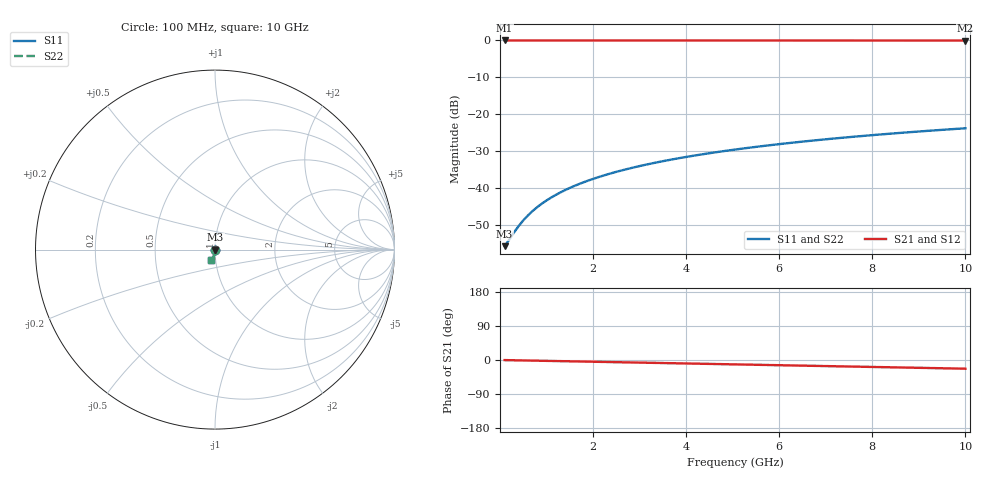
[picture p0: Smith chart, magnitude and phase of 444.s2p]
# Hz S RI R 50.00
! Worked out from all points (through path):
!   100 points, 100 MHz to 10 GHz, reference 50 ohm
!   highest |S21| = -0.01 dB at 100 MHz (marker M1); lowest = 0.0 dB at 10 GHz (marker M2)
!   group delay of S21, straight-line fit = 6.37 ps
!   lowest |S11| = -55.9 dB at 100 MHz (marker M3), VSWR 1.00, Z = 50.1 - j0.0662 ohm
!   |S11| at or under -10 dB: start of sweep to end of sweep
!   |S22| runs from -55.9 to -23.9 dB; largest |S21 - S12| = 0
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1e8  0.00147 -0.00066  0.9985 -0.00399  0.9985 -0.00399  0.00147 -0.00066
2e8  0.00146 -0.00132  0.9985 -0.00797  0.9985 -0.00797  0.00146 -0.00132
3e8  0.00146 -0.00198  0.9984 -0.012  0.9984 -0.012  0.00146 -0.00198
4e8  0.00144 -0.00264  0.9984 -0.0159  0.9984 -0.0159  0.00144 -0.00264
5e8  0.00142 -0.0033  0.9983 -0.0199  0.9983 -0.0199  0.00142 -0.0033
6e8  0.00139 -0.00396  0.9982 -0.0239  0.9982 -0.0239  0.00139 -0.00396
7e8  0.00136 -0.00462  0.9981 -0.0279  0.9981 -0.0279  0.00136 -0.00462
8e8  0.00133 -0.00528  0.9979 -0.0319  0.9979 -0.0319  0.00133 -0.00528
1e9  0.00123 -0.00659  0.9976 -0.0399  0.9976 -0.0399  0.00123 -0.00659
1.2e9  0.00112 -0.00791  0.9973 -0.0478  0.9973 -0.0478  0.00112 -0.00791
1.5e9  0.000909 -0.00988  0.9966 -0.0598  0.9966 -0.0598  0.000909 -0.00988
1.8e9  0.00065 -0.0118  0.9958 -0.0717  0.9958 -0.0717  0.00065 -0.0118
2.1e9  0.000344 -0.0138  0.9948 -0.0836  0.9948 -0.0836  0.000344 -0.0138
2.5e9  -0.000137 -0.0164  0.9933 -0.0995  0.9933 -0.0995  -0.000137 -0.0164
2.9e9  -0.000702 -0.019  0.9915 -0.1154  0.9915 -0.1154  -0.000702 -0.019
3.4e9  -0.00152 -0.0222  0.9889 -0.1352  0.9889 -0.1352  -0.00152 -0.0222
4.2e9  -0.00311 -0.0273  0.9839 -0.1667  0.9839 -0.1667  -0.00311 -0.0273
5.1e9  -0.00527 -0.0328  0.9771 -0.202  0.9771 -0.202  -0.00527 -0.0328
5.9e9  -0.00752 -0.0377  0.9699 -0.2331  0.9699 -0.2331  -0.00752 -0.0377
6.7e9  -0.0101 -0.0423  0.9617 -0.264  0.9617 -0.264  -0.0101 -0.0423
8.4e9  -0.0165 -0.0517  0.9409 -0.3287  0.9409 -0.3287  -0.0165 -0.0517
1e10  -0.0236 -0.0596  0.9173 -0.3881  0.9173 -0.3881  -0.0236 -0.0596
